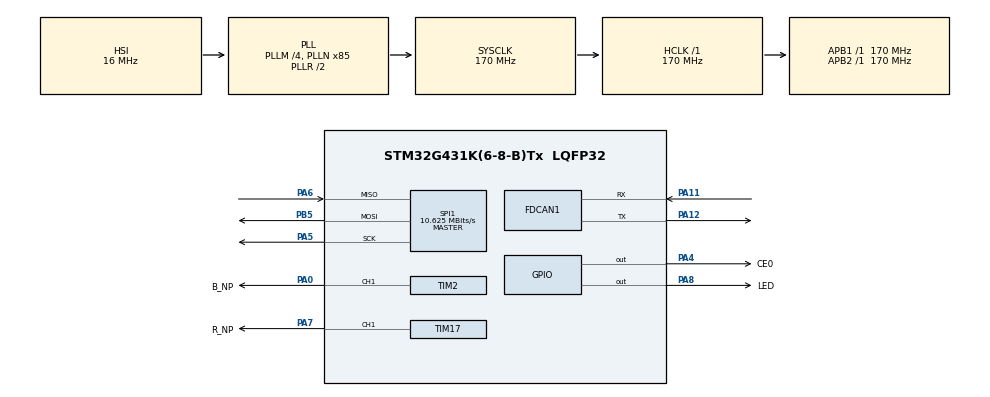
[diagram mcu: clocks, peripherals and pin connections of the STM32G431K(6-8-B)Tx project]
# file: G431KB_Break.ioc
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Dma.Request0=TIM17_CH1
Dma.Request1=TIM2_CH1
Dma.TIM17_CH1.0.Direction=DMA_MEMORY_TO_PERIPH
Dma.TIM17_CH1.0.EventEnable=DISABLE
Dma.TIM17_CH1.0.Instance=DMA1_Channel3
Dma.TIM17_CH1.0.MemDataAlignment=DMA_MDATAALIGN_BYTE
Dma.TIM17_CH1.0.MemInc=DMA_MINC_ENABLE
Dma.TIM17_CH1.0.Mode=DMA_CIRCULAR
Dma.TIM17_CH1.0.PeriphDataAlignment=DMA_PDATAALIGN_WORD
Dma.TIM17_CH1.0.PeriphInc=DMA_PINC_DISABLE
Dma.TIM17_CH1.0.Polarity=HAL_DMAMUX_REQ_GEN_RISING
Dma.TIM17_CH1.0.Priority=DMA_PRIORITY_LOW
Dma.TIM17_CH1.0.RequestNumber=1
Dma.TIM17_CH1.0.SignalID=NONE
Dma.TIM17_CH1.0.SyncEnable=DISABLE
Dma.TIM17_CH1.0.SyncPolarity=HAL_DMAMUX_SYNC_NO_EVENT
Dma.TIM17_CH1.0.SyncRequestNumber=1
Dma.TIM17_CH1.0.SyncSignalID=NONE
Dma.TIM2_CH1.1.Direction=DMA_MEMORY_TO_PERIPH
Dma.TIM2_CH1.1.EventEnable=DISABLE
Dma.TIM2_CH1.1.Instance=DMA1_Channel4
Dma.TIM2_CH1.1.MemDataAlignment=DMA_MDATAALIGN_BYTE
Dma.TIM2_CH1.1.MemInc=DMA_MINC_ENABLE
Dma.TIM2_CH1.1.Mode=DMA_CIRCULAR
Dma.TIM2_CH1.1.PeriphDataAlignment=DMA_PDATAALIGN_WORD
Dma.TIM2_CH1.1.PeriphInc=DMA_PINC_DISABLE
Dma.TIM2_CH1.1.Polarity=HAL_DMAMUX_REQ_GEN_RISING
Dma.TIM2_CH1.1.Priority=DMA_PRIORITY_LOW
Dma.TIM2_CH1.1.RequestNumber=1
Dma.TIM2_CH1.1.SignalID=NONE
Dma.TIM2_CH1.1.SyncEnable=DISABLE
Dma.TIM2_CH1.1.SyncPolarity=HAL_DMAMUX_SYNC_NO_EVENT
Dma.TIM2_CH1.1.SyncRequestNumber=1
Dma.TIM2_CH1.1.SyncSignalID=NONE
FREERTOS.Tasks01=Break_Task,0,128,StartBreak_Task,Default,NULL,Dynamic,NULL,NULL;RainBow_Task,-3,128,StartRainBow_Task,Default,NULL,Dynamic,NULL,NULL;AS504X_Task,-3,128,StartAS504X_Task,Default,NULL,Dynamic,NULL,NULL
Mcu.Family=STM32G4
Mcu.Name=STM32G431K(6-8-B)Tx
Mcu.Package=LQFP32
NVIC.DMA1_Channel3_IRQn=true\:5\:0\:false\:false\:true\:true\:false\:true
NVIC.DMA1_Channel4_IRQn=true\:5\:0\:false\:false\:true\:true\:false\:true
NVIC.PriorityGroup=NVIC_PRIORITYGROUP_4
NVIC.TIM1_UP_TIM16_IRQn=true\:0\:0\:false\:false\:true\:false\:false\:true
NVIC.TimeBase=TIM1_UP_TIM16_IRQn
NVIC.TimeBaseIP=TIM1
PA0.GPIO_Label=B_NP
PA0.GPIO_Speed=GPIO_SPEED_FREQ_VERY_HIGH
PA0.Signal=S_TIM2_CH1
PA11.Mode=FDCANMaster
PA11.Signal=FDCAN1_RX
PA12.Mode=FDCANMaster
PA12.Signal=FDCAN1_TX
PA13.Mode=Serial_Wire
PA13.Signal=SYS_JTMS-SWDIO
PA14.Mode=Serial_Wire
PA14.Signal=SYS_JTCK-SWCLK
PA4.GPIO_Label=CE0
PA4.Signal=GPIO_Output
PA5.Mode=Full_Duplex_Master
PA5.Signal=SPI1_SCK
PA6.Mode=Full_Duplex_Master
PA6.Signal=SPI1_MISO
PA7.GPIO_Label=R_NP
PA7.GPIO_Speed=GPIO_SPEED_FREQ_VERY_HIGH
PA7.Signal=S_TIM17_CH1
PA8.GPIO_Label=LED
PA8.Signal=GPIO_Output
PB5.Mode=Full_Duplex_Master
PB5.Signal=SPI1_MOSI
ProjectManager.HeapSize=0x200
ProjectManager.StackSize=0x400
ProjectManager.TargetToolchain=STM32CubeIDE
RCC.ADC12Freq_Value=170000000
RCC.AHBFreq_Value=170000000
RCC.APB1Freq_Value=170000000
RCC.APB1TimFreq_Value=170000000
RCC.APB2Freq_Value=170000000
RCC.APB2TimFreq_Value=170000000
RCC.CK48CLockSelection=RCC_USBCLKSOURCE_HSI48
RCC.CortexFreq_Value=170000000
RCC.EXTERNAL_CLOCK_VALUE=12288000
RCC.HCLKFreq_Value=170000000
RCC.HSE_VALUE=16000000
RCC.HSI48_VALUE=48000000
RCC.HSI_VALUE=16000000
RCC.LSE_VALUE=32768
RCC.PLLM=RCC_PLLM_DIV4
RCC.PLLN=85
RCC.SYSCLKFreq_VALUE=170000000
RCC.SYSCLKSource=RCC_SYSCLKSOURCE_PLLCLK
RCC.USBFreq_Value=48000000
RCC.VCOOutputFreq_Value=340000000
SH.S_TIM17_CH1.0=TIM17_CH1,PWM Generation1 CH1
SH.S_TIM2_CH1.0=TIM2_CH1,PWM Generation1 CH1
SPI1.BaudRatePrescaler=SPI_BAUDRATEPRESCALER_16
SPI1.CLKPhase=SPI_PHASE_2EDGE
SPI1.CalculateBaudRate=10.625 MBits/s
SPI1.DataSize=SPI_DATASIZE_16BIT
SPI1.Direction=SPI_DIRECTION_2LINES
SPI1.Mode=SPI_MODE_MASTER
SPI1.VirtualType=VM_MASTER
TIM17.Channel=TIM_CHANNEL_1
TIM17.PeriodNoDither=212
TIM2.Channel-PWM\ Generation1\ CH1=TIM_CHANNEL_1
TIM2.PeriodNoDither=212
VP_FREERTOS_VS_CMSIS_V1.Mode=CMSIS_V1
VP_SYS_VS_DBSignals.Mode=DisableDeadBatterySignals
VP_SYS_VS_tim1.Mode=TIM1
VP_TIM17_VS_ClockSourceINT.Mode=Enable_Timer
board=custom

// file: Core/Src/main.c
/* USER CODE BEGIN Header */
/**
  ******************************************************************************
  * @file           : main.c
  * @brief          : Main program body
  ******************************************************************************
  * @attention
  *
  * <h2><center>&copy; Copyright (c) 2020 STMicroelectronics.
  * All rights reserved.</center></h2>
  *
  * This software component is licensed by ST under BSD 3-Clause license,
  * the "License"; You may not use this file except in compliance with the
  * License. You may obtain a copy of the License at:
  *                        opensource.org/licenses/BSD-3-Clause
  *
  ******************************************************************************
  */
/* USER CODE END Header */

#include "main.h"
#include "cmsis_os.h"
#include "dma.h"
#include "fdcan.h"
#include "spi.h"
#include "tim.h"
#include "gpio.h"

/* USER CODE BEGIN Includes */
#include "ws2812.h"
#include <stdlib.h>
/* USER CODE END Includes */

/* USER CODE BEGIN PTD */
SPI_HandleTypeDef hspi1;
/* USER CODE END PTD */

/* USER CODE BEGIN PD */
uint16_t zero_position;
float zero_position_map;
/* USER CODE END PD */

void SystemClock_Config(void);
void MX_FREERTOS_Init(void);

int main(void)
{

  /* MCU Configuration--------------------------------------------------------*/

  /* Reset of all peripherals, Initializes the Flash interface and the Systick. */
  HAL_Init();

  /* Configure the system clock */
  SystemClock_Config();

  /* Initialize all configured peripherals */
  MX_GPIO_Init();
  MX_DMA_Init();
  MX_SPI1_Init();
  MX_TIM2_Init();
  MX_TIM17_Init();
  MX_FDCAN1_Init();
  /* USER CODE BEGIN 2 */
  ws2812Init();
  ws2812Begin(B_LED_CNT, R_LED_CNT);
  zero_position = as504x_getRawRotation();
  //printf("Zero: %d\n", zero_position);
  zero_position_map = as504x_read2angle(zero_position);
  //printf("Angle: %f\n", zero_position_map);
	//uint32_t led_index=0;
  /* USER CODE END 2 */

  /* Call init function for freertos objects (in freertos.c) */
  MX_FREERTOS_Init();
  /* Start scheduler */
  osKernelStart();

  /* We should never get here as control is now taken by the scheduler */
  /* Infinite loop */
  while (1)
  {

  }
}

void SystemClock_Config(void)
{
  RCC_OscInitTypeDef RCC_OscInitStruct = {0};
  RCC_ClkInitTypeDef RCC_ClkInitStruct = {0};
  RCC_PeriphCLKInitTypeDef PeriphClkInit = {0};

  /** Configure the main internal regulator output voltage
  */
  HAL_PWREx_ControlVoltageScaling(PWR_REGULATOR_VOLTAGE_SCALE1_BOOST);
  /** Initializes the CPU, AHB and APB busses clocks
  */
  RCC_OscInitStruct.OscillatorType = RCC_OSCILLATORTYPE_HSI;
  RCC_OscInitStruct.HSIState = RCC_HSI_ON;
  RCC_OscInitStruct.HSICalibrationValue = RCC_HSICALIBRATION_DEFAULT;
  RCC_OscInitStruct.PLL.PLLState = RCC_PLL_ON;
  RCC_OscInitStruct.PLL.PLLSource = RCC_PLLSOURCE_HSI;
  RCC_OscInitStruct.PLL.PLLM = RCC_PLLM_DIV4;
  RCC_OscInitStruct.PLL.PLLN = 85;
  RCC_OscInitStruct.PLL.PLLP = RCC_PLLP_DIV2;
  RCC_OscInitStruct.PLL.PLLQ = RCC_PLLQ_DIV2;
  RCC_OscInitStruct.PLL.PLLR = RCC_PLLR_DIV2;
  if (HAL_RCC_OscConfig(&RCC_OscInitStruct) != HAL_OK)
  {
    Error_Handler();
  }
  /** Initializes the CPU, AHB and APB busses clocks
  */
  RCC_ClkInitStruct.ClockType = RCC_CLOCKTYPE_HCLK|RCC_CLOCKTYPE_SYSCLK
                              |RCC_CLOCKTYPE_PCLK1|RCC_CLOCKTYPE_PCLK2;
  RCC_ClkInitStruct.SYSCLKSource = RCC_SYSCLKSOURCE_PLLCLK;
  RCC_ClkInitStruct.AHBCLKDivider = RCC_SYSCLK_DIV1;
  RCC_ClkInitStruct.APB1CLKDivider = RCC_HCLK_DIV1;
  RCC_ClkInitStruct.APB2CLKDivider = RCC_HCLK_DIV1;

  if (HAL_RCC_ClockConfig(&RCC_ClkInitStruct, FLASH_LATENCY_8) != HAL_OK)
  {
    Error_Handler();
  }
  /** Initializes the peripherals clocks
  */
  PeriphClkInit.PeriphClockSelection = RCC_PERIPHCLK_FDCAN;
  PeriphClkInit.FdcanClockSelection = RCC_FDCANCLKSOURCE_PCLK1;
  if (HAL_RCCEx_PeriphCLKConfig(&PeriphClkInit) != HAL_OK)
  {
    Error_Handler();
  }
}

/* USER CODE BEGIN 4 */
void delay(uint32_t ms)
{
  HAL_Delay(ms);
}

uint32_t millis(void)
{
  return HAL_GetTick();
}

/**
 * Function to rotate bits of a number to left.
 *
 * @num         Number to rotate.
 * @rotation    Number of times to rotate left.
 */
int rotateLeft(int num, unsigned int rotation)
{
    int DROPPED_MSB;

    // The effective rotation
    rotation %= INT_BITS;

    // Loop till rotation becomes 0
    while(rotation--)
    {
        // Get MSB of num before it gets dropped
        DROPPED_MSB = (num >> INT_BITS) & 1;

        // Left rotate num by 1 and
        // Set its dropped MSB as new LSB
        num = (num << 1) | DROPPED_MSB;
    }

    return num;
}

/**
 * Function to rotate bits of a number to right.
 *
 * @num         Number to rotate.
 * @rotation    Number of times to rotate right.
 */
int rotateRight(int num, unsigned int rotation)
{
    int DROPPED_LSB;

    // The effective rotation
    rotation %= INT_BITS;

    // Loop till rotation becomes 0
    while(rotation--)
    {
        // Get LSB of num before it gets dropped
        DROPPED_LSB = num & 1;

        // Right shift num by 1 and
        // Clear its MSB
        num = (num >> 1) & (~(1 << INT_BITS));

        // Set its dropped LSB as new MSB
        num = num | (DROPPED_LSB << INT_BITS);
    }

    return num;
}
/* USER CODE END 4 */

 /**
  * @brief  Period elapsed callback in non blocking mode
  * @note   This function is called  when TIM1 interrupt took place, inside
  * HAL_TIM_IRQHandler(). It makes a direct call to HAL_IncTick() to increment
  * a global variable "uwTick" used as application time base.
  * @param  htim : TIM handle
  * @retval None
  */
void HAL_TIM_PeriodElapsedCallback(TIM_HandleTypeDef *htim)
{
  if (htim->Instance == TIM1) {
    HAL_IncTick();
  }
}

void Error_Handler(void)
{
}

/************************ (C) COPYRIGHT STMicroelectronics *****END OF FILE****/

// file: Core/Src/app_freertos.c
/* USER CODE BEGIN Header */
/**
  ******************************************************************************
  * File Name          : app_freertos.c
  * Description        : Code for freertos applications
  ******************************************************************************
  * @attention
  *
  * <h2><center>&copy; Copyright (c) 2020 STMicroelectronics.
  * All rights reserved.</center></h2>
  *
  * This software component is licensed by ST under Ultimate Liberty license
  * SLA0044, the "License"; You may not use this file except in compliance with
  * the License. You may obtain a copy of the License at:
  *                             www.st.com/SLA0044
  *
  ******************************************************************************
  */
/* USER CODE END Header */

#include "FreeRTOS.h"
#include "task.h"
#include "main.h"
#include "cmsis_os.h"

/* USER CODE BEGIN Includes */
#include "ws2812.h"
#include "as504x.h"

/* USER CODE END Includes */

/* USER CODE BEGIN PTD */
//extern #define B_LED_CNT 20
//extern R_LED_CNT 128

//extern #define INT_BITS 	20
#define PI	3.14159265358979323846

_Bool g_break_flg = 0;
uint32_t g_speed = 0;

extern uint16_t zero_position;
extern float zero_position_map;
uint16_t old_angle;
int32_t old_rotation = 0;
/* USER CODE END PTD */

osThreadId Break_TaskHandle;
osThreadId RainBow_TaskHandle;
osThreadId AS504X_TaskHandle;

void StartBreak_Task(void const * argument);
void StartRainBow_Task(void const * argument);
void StartAS504X_Task(void const * argument);

void MX_FREERTOS_Init(void); /* (MISRA C 2004 rule 8.1) */

void MX_FREERTOS_Init(void) {

  /* Create the thread(s) */
  /* definition and creation of Break_Task */
  osThreadDef(Break_Task, StartBreak_Task, osPriorityNormal, 0, 128);
  Break_TaskHandle = osThreadCreate(osThread(Break_Task), NULL);

  /* definition and creation of RainBow_Task */
  osThreadDef(RainBow_Task, StartRainBow_Task, osPriorityIdle, 0, 128);
  RainBow_TaskHandle = osThreadCreate(osThread(RainBow_Task), NULL);

  /* definition and creation of AS504X_Task */
  osThreadDef(AS504X_Task, StartAS504X_Task, osPriorityIdle, 0, 128);
  AS504X_TaskHandle = osThreadCreate(osThread(AS504X_Task), NULL);

}

void StartBreak_Task(void const * argument)
{
  /* USER CODE BEGIN StartBreak_Task */
  /* Infinite loop */

  uint32_t pre_time = 0;
  uint32_t led_time = 200;
	uint32_t firstled = 0;
	uint32_t halfled = 0;
	uint32_t led_index = 0;
	uint32_t led_mask= 0b1110000111;

	_Bool led_flg=0;
	uint32_t led_count = 0;
  for(;;)
  {

		if(millis()-pre_time >= led_time)
		{
			pre_time = millis();
			if(g_break_flg == 0) {
				/*
				if(g_speed < 1000) {
					led_time = 200;
				}
				else {
					led_time = 50;
				}*/
				led_time = g_speed/10;
				if(led_time < 50)
					led_time = 50;
				led_count = 0;
				firstled = rotateLeft(led_mask, led_index%B_LED_CNT);
				halfled = rotateRight(led_mask, led_index%B_LED_CNT);

				led_index++;
				for(uint32_t j=0; j<12; j++) {
					if( firstled >> j & 0x01){
							ws2812SetColor(j, 255, 255, 255);
					}else {
						ws2812SetColor(j, 0, 0, 0);
					}
				}
				for(uint32_t j=20; j>11; j--) {
					if( halfled >> (j-11) & 0x01){
							ws2812SetColor(j, 255, 255, 255);
					}else {
						ws2812SetColor(j, 0, 0, 0);
					}
				}
			}
			else{ // break
				led_count++;
				if(led_count > 30) {
					led_time = 500;
				}else {
					led_time = 50;
				}
				if(led_count > 40) {
						//led_count = 0;
						g_break_flg = 0;
				}

				if(led_flg) {
					for(int i = 0; i < B_LED_CNT; i++) {
						ws2812SetColor(i, 255, 0, 0);
						led_flg = 0;
					}
				}else {
					for(int i = 0; i < B_LED_CNT; i++) {
						ws2812SetColor(i, 0, 0, 0);
						led_flg = 1;
					}
				}
			}
		}
    osDelay(1);
  }
  /* USER CODE END StartBreak_Task */
}

void StartRainBow_Task(void const * argument)
{
  /* USER CODE BEGIN StartRainBow_Task */
  /* Infinite loop */

	uint32_t rainbow_pre_time=0;
	uint32_t rainbow_led_time=10;
	_Bool led_flg=0;
	uint32_t led_count = 0;
	for(;;)
	{
		uint16_t i, j;
		for(j=0; j<256*5;) { // 5 cycles of all colors on wheel
			if(millis()-rainbow_pre_time >= rainbow_led_time)
			{
				rainbow_pre_time = millis();
				j++;
				rainbow_led_time = 10;
				if(g_break_flg == 0) {
					led_count = 0;
					for(i=0; i< R_LED_CNT; i++) {
						setPixelColor(i, Wheel(((i * 256 / R_LED_CNT) + j) & 255));
					}
				}
				else{ // break
					led_count++;
					if(led_count > 20) {
						rainbow_led_time = 500;
					}else {
						rainbow_led_time = 50;
					}
					if(led_count > 30) {
							//led_count = 0;
							g_break_flg = 0;
					}

					if(led_flg) {
						for(int i = 0; i < B_LED_CNT; i++) {
							setPixelColor(i, 0xff0000);
							led_flg = 0;
						}
					}else {
						for(int i = 0; i < B_LED_CNT; i++) {
							setPixelColor(i, 0);
							led_flg = 1;
						}
					}
				}
			}
		}
		osDelay(1);
	}
  /* USER CODE END StartRainBow_Task */
}

void StartAS504X_Task(void const * argument)
{
  /* USER CODE BEGIN StartAS504X_Task */
  /* Infinite loop */

  uint32_t Task03_pre_time = 0;
  uint32_t Task03_led_time = 1000;
  //uint32_t speed = 0;

  for(;;)
  {

		if (millis()-Task03_pre_time >= Task03_led_time)
		{
			Task03_pre_time = millis();
			// max 14bit = 16383 dec
		  uint16_t current_angle = as504x_getRawRotation();
		  float current_angle_map = as504x_read2angle(current_angle);

			float angle = current_angle_map - zero_position_map;
			//angle = as504x_normalize(angle);

			float radian = as504x_radian(angle);
		  // set new zero position
			float rpm = radian/((2*PI)/60);
		  as504x_setZeroPosition(current_angle);
		  zero_position = current_angle;
			//zero_position = angleSensor.getRawRotation();
			zero_position_map = as504x_read2angle(zero_position);

		  //int current_rotation1 = as504x_normalize(as504x_read2angle(current_angle));
		  //float n_radian = as504x_radian(current_rotation);
		  //old_rotation = current_rotation;

		  //float angle = current_angle_map - zero_position_map;
		  //angle = as504x_normalize(angle);
		  //if( (angle - old_angle) > 10)
		  	//g_break_flg = 1;
		  //else
		  	//g_break_flg = 0;
			//old_angle = angle;
		}

/*
		if(angle>100) {
			g_speed = 0;
		}
		if(g_break_flg == 1) {
			//g_break_flg = 0;
		}
		else {
			g_break_flg = 0;
		}
	  //printf("Current Angle: %d\nCurrent Angle Map: %f\nAngle: %f\n\n", current_angle, current_angle_map, angle);

	  if (as504x_error()) {
		  //printf("ERROR: %d\n", as504x_getErrors());
	  }

*/
    osDelay(1);
  }

  /* USER CODE END StartAS504X_Task */
}

/************************ (C) COPYRIGHT STMicroelectronics *****END OF FILE****/
